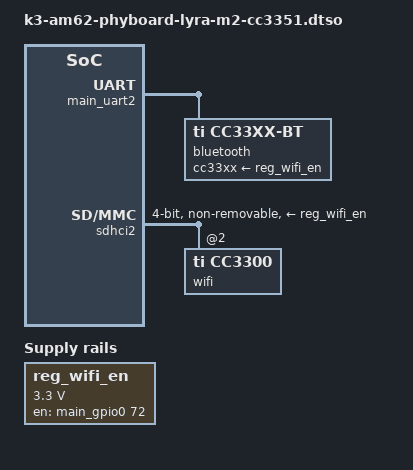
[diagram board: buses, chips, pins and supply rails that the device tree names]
// SPDX-License-Identifier: GPL-2.0-only OR MIT
/*
 * Copyright (C) 2025 PHYTEC America LLC
 * Author: John Ma <jma@phytec.com>
 */

/dts-v1/;
/plugin/;

#include <dt-bindings/gpio/gpio.h>
#include <dt-bindings/interrupt-controller/irq.h>
#include "k3-pinctrl.h"

&{/} {
	aliases {
		serial4 = "/bus@f0000/serial@2820000";
	};

	reg_wifi_en: fixed-regulator-wifi-en {
		compatible = "regulator-fixed";
		regulator-name = "wifi_en";
		regulator-min-microvolt = <3300000>;
		regulator-max-microvolt = <3300000>;
		pinctrl-names = "default";
		pinctrl-0 = <&wifi_en_pins_default>;
		gpio = <&main_gpio0 72 GPIO_ACTIVE_HIGH>;
		regulator-always-on;
		enable-active-high;
	};
};

&main_pmx0 {
	bt_en_pins_default: bt-en-pins-default{
		pinctrl-single,pins = <
			AM62X_IOPAD(0x0124, PIN_INPUT, 7) /* (A23) MMC2_SDCD.GPIO0_71 */
		>;
	};

	bt_uart2_pins_default: bt-uart2-pins-default {
		pinctrl-single,pins = <
			AM62X_IOPAD(0x0074, PIN_INPUT, 8) /* (U25) GPMC0_AD14.UART2_CTSn */
			AM62X_IOPAD(0x0078, PIN_OUTPUT, 8) /* (U24) GPMC0_AD15.UART2_RTSn */
			AM62X_IOPAD(0x005c, PIN_INPUT, 2) /* (R24) GPMC0_AD8.UART2_RXD */
			AM62X_IOPAD(0x0060, PIN_OUTPUT, 2) /* (R25) GPMC0_AD9.UART2_TXD */
		>;
	};

	main_mmc2_wifi_pins_default: main-mmc2-wifi-pins-default {
		pinctrl-single,pins = <
			AM62X_IOPAD(0x0120, PIN_INPUT, 0) /* (C24) MMC2_CMD */
			AM62X_IOPAD(0x0118, PIN_OUTPUT, 0) /* (D25) MMC2_CLK */
			AM62X_IOPAD(0x011C, PIN_INPUT, 0) /* () MMC2_CLKLB */
			AM62X_IOPAD(0x0114, PIN_INPUT, 0) /* (B24) MMC2_DAT0 */
			AM62X_IOPAD(0x0110, PIN_INPUT_PULLUP, 0) /* (C25) MMC2_DAT1 */
			AM62X_IOPAD(0x010c, PIN_INPUT_PULLUP, 0) /* (E23) MMC2_DAT2 */
			AM62X_IOPAD(0x0108, PIN_INPUT_PULLUP, 0) /* (D24) MMC2_DAT3 */
		>;
	};

	wifi_en_pins_default: wifi-en-pins-default {
		pinctrl-single,pins = <
			AM62X_IOPAD(0x0128, PIN_INPUT, 7) /* (B23) MMC2_SDWP.GPIO0_72 */
		>;
	};
};

&main_uart2 {
	pinctrl-names = "default";
	pinctrl-0 = <&bt_uart2_pins_default>;
	uart-has-rtscts;
	status = "okay";

	bluetooth {
		compatible = "ti,cc33xx-bt";
		pinctrl-names = "default";
		pinctrl-0 = <&bt_en_pins_default>;
		cc33xx-supply = <&reg_wifi_en>;
		max-speed = <115200>;
	};
};

&sdhci2 {
	vmmc-supply = <&reg_wifi_en>;
	pinctrl-names = "default";
	pinctrl-0 = <&main_mmc2_wifi_pins_default>;
	bus-width = <4>;
	cap-power-off-card;
	keep-power-in-suspend;
	non-removable;
	#address-cells = <1>;
	#size-cells = <0>;
	ti,fails-without-test-cd;
	status = "okay";

	wifi: cc3300@2 {
		compatible = "ti,cc3300";
		reg = <2>;
	};
};
